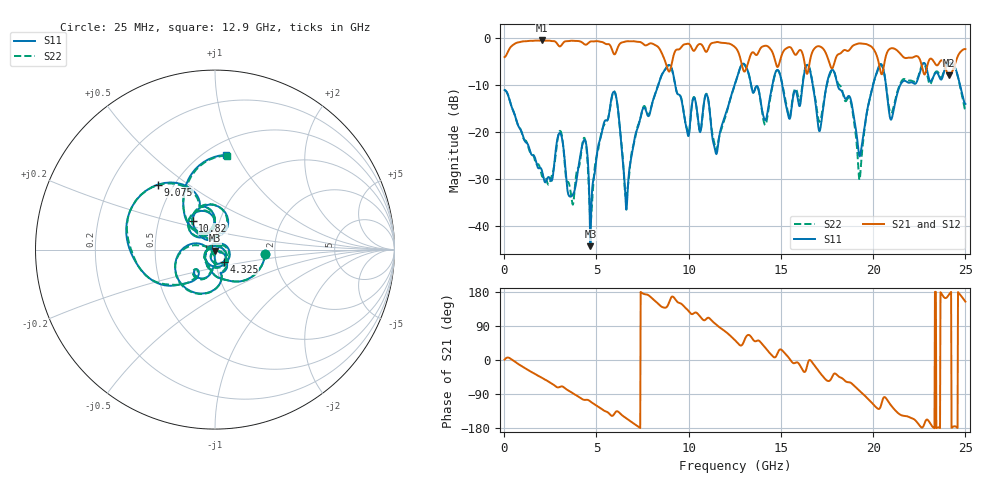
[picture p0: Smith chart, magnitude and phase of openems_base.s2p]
! R_s4_rect_n0: Finite board 24 × 16 mm, via L1 → L4 through the L2/L3 cavity, no return via
! stackup: 4-layer 1.6 mm FR-4
! ports: 1 L1, 2 L4
! openEMS 0.37.0, staircase, base mesh (dfine 0.07 mm), 660192 cells
# Hz S RI R 50
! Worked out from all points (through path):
!   1000 points, 25 MHz to 25 GHz, reference 50 ohm
!   highest |S21| = -0.45 dB at 2.05 GHz (marker M1); lowest = -7.9 dB at 24.12 GHz (marker M2)
!   group delay of S21, straight-line fit = 63.5 ps
!   lowest |S11| = -44.3 dB at 4.675 GHz (marker M3), VSWR 1.01, Z = 50.2 - j0.581 ohm
!   |S11| at or under -10 dB: start of sweep to 8.345 GHz; 9.275 GHz to 12.49 GHz (3.211 GHz wide, 29.5 % of centre); 18.08 GHz to 19.99 GHz (1.913 GHz wide, 10.1 % of centre)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
!   |S22| runs from -39.9 to -5.3 dB; largest |S21 - S12| = 0.0059
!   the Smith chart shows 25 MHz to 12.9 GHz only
!   S11 on the Smith chart (normalised r, x): 25 MHz: 1.78, -0.09; 4.325 GHz: 1.09, -0.15; 9.075 GHz: 0.41, +0.39; 10.82 GHz: 0.74, +0.25; 12.9 GHz: 0.62, +0.91
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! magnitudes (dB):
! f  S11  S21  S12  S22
! 25 MHz  -11.0  -4.0  -4.0  -11.0
! 2.05 GHz  -28.2  -0.4  -0.5  -29.3
! 4.2 GHz  -23.4  -0.8  -0.7  -23.6
! 4.325 GHz  -21.7  -1.2  -1.2  -21.2
! 4.675 GHz  -44.3  -0.7  -0.7  -39.9
! 5.925 GHz  -11.4  -3.2  -3.2  -11.4
! 6.625 GHz  -36.5  -0.6  -0.7  -33.1
! 8.35 GHz  -9.9  -1.9  -1.9  -10.0
! 9.075 GHz  -6.3  -5.6  -5.5  -6.4
! 9.925 GHz  -20.0  -1.2  -1.2  -19.5
! 10.82 GHz  -13.9  -2.1  -2.1  -14.0
! 11.5 GHz  -24.7  -0.8  -0.8  -23.9
! 12.53 GHz  -9.5  -1.9  -1.9  -9.5
! 12.9 GHz  -5.5  -5.9  -5.9  -5.6
! 14.15 GHz  -17.5  -1.6  -1.6  -18.5
! 16.68 GHz  -8.8  -3.2  -3.2  -8.5
! 18.73 GHz  -12.4  -2.4  -2.4  -12.9
! 19.27 GHz  -25.2  -1.1  -1.1  -30.1
! 20.27 GHz  -6.3  -4.7  -4.8  -6.6
! 20.85 GHz  -15.3  -2.4  -2.4  -14.5
! 24.12 GHz  -5.2  -7.9  -7.9  -5.3
! 25 GHz  -14.0  -2.3  -2.3  -15.3
